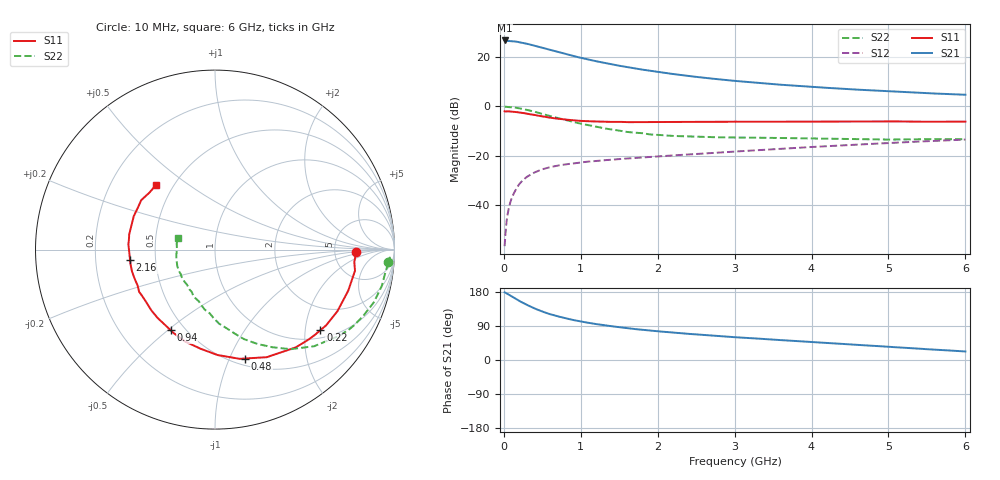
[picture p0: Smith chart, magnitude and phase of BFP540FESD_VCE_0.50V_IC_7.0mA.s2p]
! Infineon Technologies  Discrete & RF Semiconductors
! BFP540FESD
! VCE = 0.50 V,  IC =  7.0 mA
! Common Emitter S-Parameters:  Nov 2015
# GHz  S  MA  R  50
!  f  S11  S21  S12  S22
! GHz  MAG  ANG  MAG  ANG  MAG  ANG  MAG  ANG
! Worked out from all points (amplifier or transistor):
!   210 points, 10 MHz to 6 GHz, reference 50 ohm
!   highest |S21| = 26.5 dB at 10 MHz (marker M1)
!   |S21| within 3 dB of that: start of sweep to 508.6 MHz
!   unconditionally stable (mu >= 1): 2.4 GHz to end of sweep
!   at 185 MHz: K = 0.12, MSG = 29.0 dB, |S12| = -32.1 dB
!   at 1.52 GHz: K = 0.76, MSG = 18.8 dB, |S12| = -21.3 dB
!   at 6 GHz: K = 1.23, MAG = 6.2 dB, |S12| = -13.5 dB
!   S11 on the Smith chart (normalised r, x): 10 MHz: 8.34, -0.60; 220 MHz: 1.22, -2.41; 480 MHz: 0.57, -1.14; 940 MHz: 0.42, -0.51; 2.16 GHz: 0.36, -0.05; 6 GHz: 0.40, +0.38
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0.01  0.7869 -1.0  21.12 178.6  0.0015 110.3  0.9667 -4.0
0.02  0.7791 -5.0  20.59 177.7  0.0025 92.0  0.975 -2.6
0.05  0.7888 -8.6  20.67 174.2  0.0067 83.7  0.9613 -6.2
0.15  0.7637 -26.7  20.18 162.0  0.02 76.8  0.9324 -18.4
0.22  0.7393 -37.4  19.23 153.8  0.029 71.7  0.8924 -26.4
0.3  0.7068 -50.4  18.18 145.2  0.0375 65.9  0.8417 -34.9
0.4  0.6652 -64.3  16.6 135.8  0.0461 60.3  0.7712 -44.3
0.48  0.6294 -74.6  15.36 129.4  0.0518 56.3  0.7109 -50.9
0.6  0.5876 -88.6  13.6 120.9  0.0587 51.5  0.6315 -59.5
0.7  0.5585 -98.2  12.38 115.3  0.0633 49.0  0.5771 -65.7
0.8  0.5382 -108.2  11.26 110.0  0.0671 46.6  0.5248 -72.0
0.94  0.5123 -118.8  9.932 104.1  0.071 44.6  0.4654 -78.6
1.02  0.502 -124.5  9.284 100.9  0.0737 43.7  0.4373 -82.5
1.2  0.4904 -136.3  8.044 94.8  0.0781 41.8  0.3843 -90.8
1.4  0.4807 -146.3  6.997 89.1  0.0833 40.9  0.339 -99.8
1.7  0.4762 -159.3  5.783 81.7  0.0901 40.0  0.2921 -112.1
2.02  0.4777 -169.9  4.854 75.4  0.0971 39.5  0.2626 -123.0
2.16  0.4768 -172.9  4.534 73.1  0.1006 39.5  0.2531 -127.0
3.1  0.4848 168.5  3.137 59.0  0.1239 38.3  0.2329 -149.2
4.1  0.4888 156.5  2.393 46.2  0.1529 35.4  0.2218 -165.4
5.1  0.4922 144.9  1.962 33.6  0.1835 29.8  0.2123 178.3
6  0.4871 132.6  1.698 22.5  0.2116 23.9  0.2153 162.4
